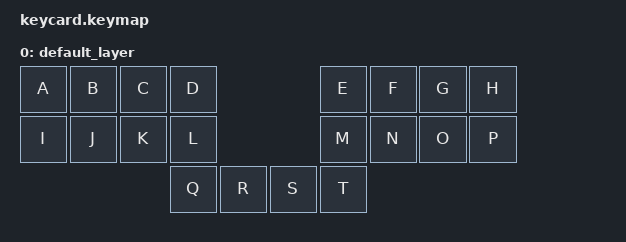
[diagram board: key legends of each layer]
#include <behaviors.dtsi>
#include <dt-bindings/zmk/keys.h>

/ {
    keymap {
        compatible = "zmk,keymap";

        default_layer {
            bindings = <
                &kp A  &kp B  &kp C  &kp D                &kp E  &kp F  &kp G  &kp H
                &kp I  &kp J  &kp K  &kp L                &kp M  &kp N  &kp O  &kp P
                                     &kp Q  &kp R  &kp S  &kp T
            >;
        };
    };
};

// minecraft {
//     bindings = <
//         &kp LSHIFT &kp Q    &kp UP   &kp F
//         &kp LCTRL  &kp LEFT &kp DOWN &kp RIGHT
//                                      &kp E     &kp SPACE
//     >;
// };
